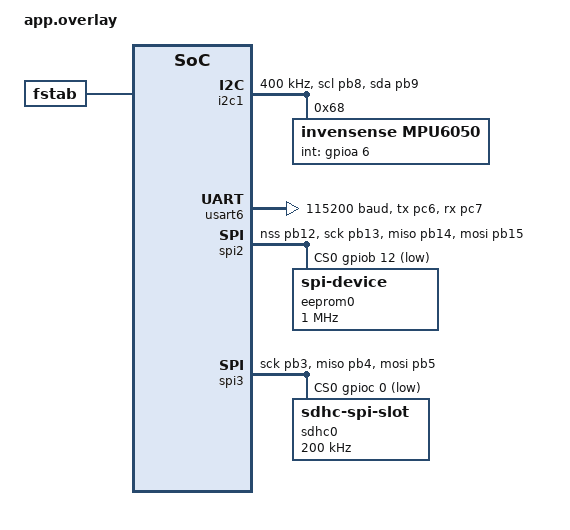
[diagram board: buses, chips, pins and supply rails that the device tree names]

/ {
	aliases {
		accel0 = &mpu6050;
	};

	fstab {
		compatible = "zephyr,fstab";

		sdcard {
			compatible = "zephyr,fstab-fs";
			mount-point = "/SD:";
			type = "ffat";
			disk-access = <&sdhc0>;
			automount;
		};
	};
};



&i2c1 {

	status = "okay";

	pinctrl-0 = <&i2c1_scl_pb8 &i2c1_sda_pb9>;
	pinctrl-names = "default";

	clock-frequency = <I2C_BITRATE_FAST>;

	mpu6050: mpu6050@68 {

		compatible = "invensense,mpu6050";

		reg = <0x68>;

		int-gpios = <&gpioa 6 GPIO_ACTIVE_HIGH>;

		status = "okay";
	};
};



&usart6 {

	status = "okay";

	current-speed = <115200>;

	pinctrl-0 = <&usart6_tx_pc6
		     &usart6_rx_pc7>;

	pinctrl-names = "default";

};

&spi2 {

	status = "okay";

	pinctrl-0 = <&spi2_nss_pb12
		     &spi2_sck_pb13
		     &spi2_miso_pb14
		     &spi2_mosi_pb15>;

	pinctrl-names = "default";


	cs-gpios = <&gpiob 12 GPIO_ACTIVE_LOW>;


	eeprom0: eeprom@0 {

		compatible = "zephyr,spi-device";

		reg = <0>;

		spi-max-frequency = <1000000>;

		status = "okay";

	};

};

&spi3 {

	status = "okay";


	pinctrl-0 = <&spi3_sck_pb3
		     &spi3_miso_pb4
		     &spi3_mosi_pb5>;

	pinctrl-names = "default";


	cs-gpios = <&gpioc 0 GPIO_ACTIVE_LOW>;



	sdhc0: sdhc@0 {

		compatible = "zephyr,sdhc-spi-slot";

		reg = <0>;

		status = "okay";


		spi-max-frequency = <200000>;


		mmc {

			compatible = "zephyr,sdmmc-disk";

			disk-name = "SD";

			status = "okay";

		};

	};

};
